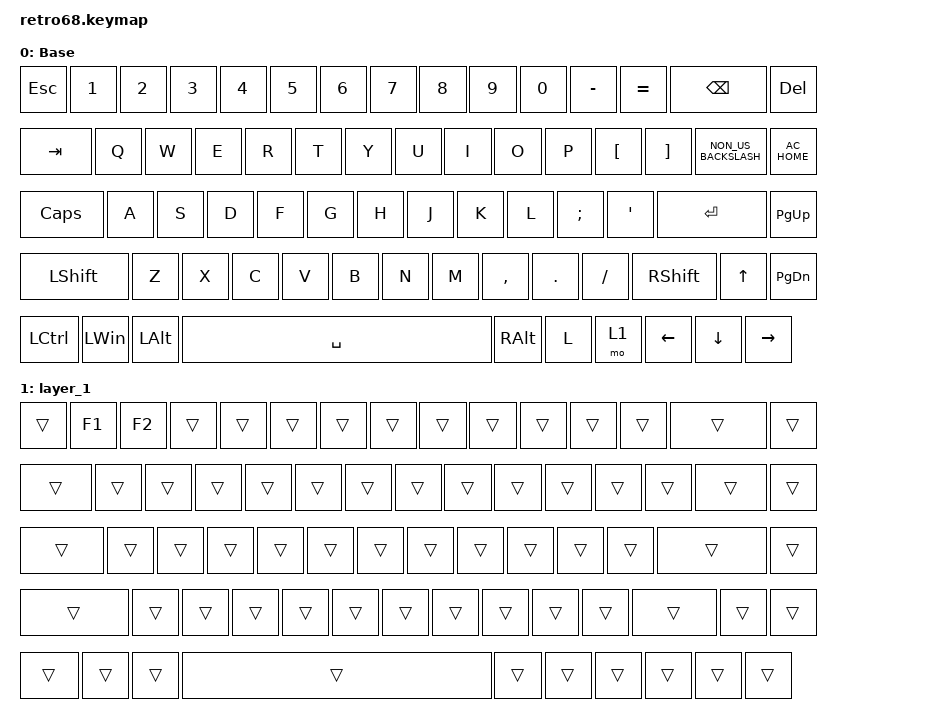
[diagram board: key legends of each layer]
#include <behaviors.dtsi>
#include <dt-bindings/zmk/keys.h>

/ {
    keymap {
        compatible = "zmk,keymap";

        default_layer {
            display-name = "Base";
            bindings = <
&kp ESC         &kp N1        &kp N2        &kp N3  &kp N4  &kp NUMBER_5  &kp N6  &kp N7  &kp N8     &kp N9         &kp N0         &kp MINUS         &kp EQUAL          &kp BACKSPACE         &kp DELETE
&kp TAB         &kp Q         &kp W         &kp E   &kp R   &kp T         &kp Y   &kp U   &kp I      &kp O          &kp P          &kp LEFT_BRACKET  &kp RIGHT_BRACKET  &kp NON_US_BACKSLASH  &kp C_AC_HOME
&kp CAPS        &kp A         &kp S         &kp D   &kp F   &kp G         &kp H   &kp J   &kp K      &kp L          &kp SEMICOLON  &kp SQT                              &kp ENTER             &kp PAGE_UP
&kp LEFT_SHIFT  &kp Z         &kp X         &kp C   &kp V   &kp B         &kp N   &kp M   &kp COMMA  &kp PERIOD     &kp SLASH                        &kp RIGHT_SHIFT    &kp UP_ARROW          &kp PAGE_DOWN
&kp LCTRL       &kp LEFT_WIN  &kp LEFT_ALT                  &kp SPACE                                &kp RIGHT_ALT  &kp L          &mo 1             &kp LEFT_ARROW     &kp DOWN_ARROW        &kp RIGHT_ARROW
            >;
        };

        layer_1 {
            bindings = <
&trans  &kp F1  &kp F2  &trans  &trans  &trans  &trans  &trans  &trans  &trans  &trans  &trans  &trans  &trans  &trans
&trans  &trans  &trans  &trans  &trans  &trans  &trans  &trans  &trans  &trans  &trans  &trans  &trans  &trans  &trans
&trans  &trans  &trans  &trans  &trans  &trans  &trans  &trans  &trans  &trans  &trans  &trans          &trans  &trans
&trans  &trans  &trans  &trans  &trans  &trans  &trans  &trans  &trans  &trans  &trans          &trans  &trans  &trans
&trans  &trans  &trans                  &trans                          &trans  &trans  &trans  &trans  &trans  &trans
            >;
        };
    };
};
